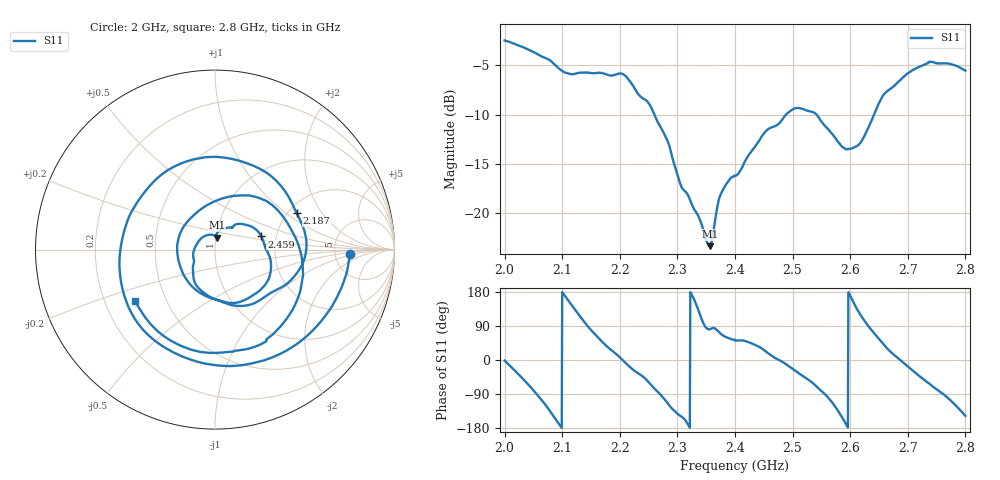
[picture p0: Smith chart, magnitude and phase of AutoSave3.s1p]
!Agilent N9923A: A.05.17
!Date: Sunday, 01 January 2006 12:21:07
!Model: N9923A
!Serial: MY50371189
!CHECKSUM:1466837219
!Correction: S11(ON U)
!S1P File: Measurement: S11:
# Hz S DB R 50
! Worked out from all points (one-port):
!   1001 points, 2 GHz to 2.8 GHz, reference 50 ohm
!   lowest |S11| = -23.4 dB at 2.356 GHz (marker M1), VSWR 1.15, Z = 50.6 + j6.82 ohm
!   |S11| at or under -10 dB: 2.26 GHz to 2.489 GHz (228.7 MHz wide, 9.63 % of centre); 2.542 GHz to 2.641 GHz (99.7 MHz wide, 3.85 % of centre)
!   S11 on the Smith chart (normalised r, x): 2 GHz: 6.98, -0.72; 2.187 GHz: 2.23, +1.20; 2.459 GHz: 1.67, +0.26; 2.8 GHz: 0.33, -0.26
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2e9  -2.48 -1.7
2.0248e9  -3.00 -38.4
2.0528e9  -3.73 -85.1
2.0808e9  -4.58 -139.3
2.1e9  -5.57 179.2
2.1232e9  -5.84 131.2
2.14e9  -5.73 97.2
2.1664e9  -5.76 52.6
2.1872e9  -6.03 23.9
2.2e9  -5.83 7.1
2.2216e9  -6.95 -23.8
2.252e9  -9.01 -61.9
2.2824e9  -12.61 -112.5
2.3e9  -16.07 -141.6
2.356e9  -23.37 80.9
2.3752e9  -18.08 69.0
2.4e9  -16.23 51.3
2.4592e9  -11.42 15.8
2.5e9  -9.48 -23.3
2.5496e9  -10.68 -81.3
2.6e9  -13.49 169.6
2.6496e9  -8.88 56.5
2.6704e9  -7.36 21.2
2.7e9  -5.82 -17.1
2.7336e9  -4.82 -58.4
2.7528e9  -4.79 -80.5
2.776e9  -4.90 -109.1
2.8e9  -5.54 -147.5
